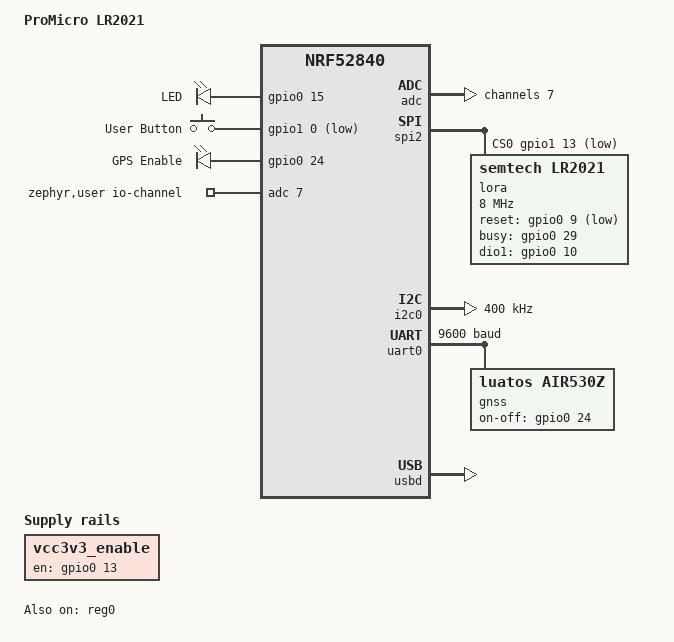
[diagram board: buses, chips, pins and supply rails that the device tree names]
/*
 * ProMicro LR2021 — nRF52840 SuperMini + LR2021
 * Copyright (c) 2025 ZephCore
 *
 * SPDX-License-Identifier: Apache-2.0
 *
 * Hardware:
 * - nRF52840 (SuperMini/ProMicro form factor) with BLE 5
 * - Semtech LR2021 LoRa Plus radio (DIO5 as IRQ, DIO3 as TCXO supply)
 * - GPS module on UART0 (9600 baud, P0.22 RX, P0.20 TX)
 * - Battery ADC on AIN7 (P0.31), 150K+150K divider (2:1)
 * - User button on P1.00, LED on P0.15
 * - 3V3 enable on P0.13 (must be HIGH for LR2021 to function)
 */

/dts-v1/;
#include <nordic/nrf52840_qiaa.dtsi>
#include "promicro_lr2021-pinctrl.dtsi"
#include <zephyr/dt-bindings/adc/nrf-saadc.h>
#include <zephyr/dt-bindings/input/input-event-codes.h>

/ {
	model = "ProMicro LR2021";
	compatible = "zephcore,promicro-lr2021";

	chosen {
		zephyr,sram = &sram0;
		zephyr,flash = &flash0;
		zephyr,code-partition = &code_partition;
		zephyr,console = &cdc_acm_uart;
		zephyr,shell-uart = &cdc_acm_uart;
	};

	aliases {
		lora0 = &lora;
		led0 = &led0;
		sw0 = &user_button;
		watchdog0 = &wdt0;
		gps-enable = &gps_enable_pin;
	};

	leds {
		compatible = "gpio-leds";
		led0: led_0 {
			gpios = <&gpio0 15 GPIO_ACTIVE_HIGH>;
			label = "LED";
		};
	};

	buttons: buttons {
		compatible = "gpio-keys";
		user_button: button_0 {
			gpios = <&gpio1 0 (GPIO_PULL_UP | GPIO_ACTIVE_LOW)>;
			zephyr,code = <INPUT_KEY_ENTER>;
			label = "User Button";
		};
	};

	/* 3V3 enable — must be HIGH to power LR2021 module */
	vcc3v3_enable: vcc3v3-enable {
		compatible = "regulator-fixed";
		regulator-name = "vcc3v3-enable";
		enable-gpios = <&gpio0 13 GPIO_ACTIVE_HIGH>;
		regulator-boot-on;
		startup-delay-us = <5000>;
	};

	/* GPS power control */
	gps_en: gps-enable {
		compatible = "gpio-leds";
		gps_enable_pin: gps_enable {
			gpios = <&gpio0 24 GPIO_ACTIVE_HIGH>;
			label = "GPS Enable";
		};
	};

	/* Battery ADC: P0.31 (AIN7), 150K+150K voltage divider (2:1) */
	zephyr,user {
		io-channels = <&adc 7>;
		vbat-mv-multiplier = <7200>;
	};
};

&reg0 {
	status = "okay";
};

&reg1 {
	regulator-initial-mode = <NRF5X_REG_MODE_DCDC>;
};

&uicr {
	nfct-pins-as-gpios;
};

&gpiote {
	status = "okay";
};

&gpio0 {
	status = "okay";
};

&gpio1 {
	status = "okay";
};

&adc {
	status = "okay";
	#address-cells = <1>;
	#size-cells = <0>;

	/* Battery voltage on P0.31 (AIN7) */
	channel@7 {
		reg = <7>;
		zephyr,gain = "ADC_GAIN_1_6";
		zephyr,reference = "ADC_REF_INTERNAL";
		zephyr,acquisition-time = <ADC_ACQ_TIME(ADC_ACQ_TIME_MICROSECONDS, 10)>;
		zephyr,input-positive = <NRF_SAADC_AIN7>;
		zephyr,resolution = <12>;
	};
};

/* ---- SPI2 for LR2021 ---- */
&spi2 {
	compatible = "nordic,nrf-spim";
	status = "okay";
	pinctrl-0 = <&spi2_default>;
	pinctrl-1 = <&spi2_sleep>;
	pinctrl-names = "default", "sleep";
	cs-gpios = <&gpio1 13 GPIO_ACTIVE_LOW>;   /* P1.13 LR2021_CS */

	lora: lora@0 {
		compatible = "semtech,lr2021";
		reg = <0>;
		spi-max-frequency = <8000000>;

		reset-gpios = <&gpio0  9 GPIO_ACTIVE_LOW>;
		busy-gpios  = <&gpio0 29 GPIO_ACTIVE_HIGH>;
		dio1-gpios  = <&gpio0 10 (GPIO_PULL_DOWN | GPIO_ACTIVE_HIGH)>;

		/* NiceRF LoRa2021 module uses internal crystal (XTAL), no TCXO.
		 * tcxo-voltage-mv defaults to 0 (disabled). */
		rx-boosted;

		/* RF switch via NiceRF module internal DIOs (DIO5=bit0, DIO6=bit1).
		 * DIO5/DIO6 are not exposed on the module — wired internally
		 * to the on-module RF switch.  DIO9 (pin 15) is IRQ to MCU.
		 * Config from Semtech reference ral_lr20xx_bsp.c:
		 *   DIO5: RX_LF | TX_HF
		 *   DIO6: RX_LF | TX_LF | RX_HF | TX_HF (always on) */
		rfswitch-enable  = <0x03>;
		rfswitch-standby = <0x00>;
		rfswitch-rx      = <0x03>;
		rfswitch-tx      = <0x02>;
		rfswitch-tx-hp   = <0x03>;

		pa-hp-sel    = <7>;
		pa-duty-cycle = <4>;
	};
};

/* ---- I2C0 for optional sensors ---- */
&i2c0 {
	compatible = "nordic,nrf-twim";
	status = "okay";
	clock-frequency = <I2C_BITRATE_FAST>;
	pinctrl-0 = <&i2c0_default>;
	pinctrl-1 = <&i2c0_sleep>;
	pinctrl-names = "default", "sleep";

	/* All supported environment & power sensors — auto-detected at runtime */
	#include "../../common/sensors-i2c.dtsi"
};

/* ---- GPS on UART0 (9600 baud) ---- */
&uart0 {
	compatible = "nordic,nrf-uarte";
	status = "okay";
	current-speed = <9600>;
	pinctrl-0 = <&uart0_default>;
	pinctrl-1 = <&uart0_sleep>;
	pinctrl-names = "default", "sleep";

	gnss: gnss {
		compatible = "luatos,air530z";
		on-off-gpios = <&gpio0 24 GPIO_ACTIVE_HIGH>;
	};
};

/* ---- USB CDC for console/CLI ---- */
zephyr_udc0: &usbd {
	compatible = "nordic,nrf-usbd";
	status = "okay";

	cdc_acm_uart: cdc_acm_uart {
		compatible = "zephyr,cdc-acm-uart";
	};
};

/* ---- Flash partitions (SoftDevice v6, app@0x26000) ---- */
#include "../../common/nrf52_partitions_sdv6.dtsi"
#include "../../common/nrf52_wakeup.dtsi"
